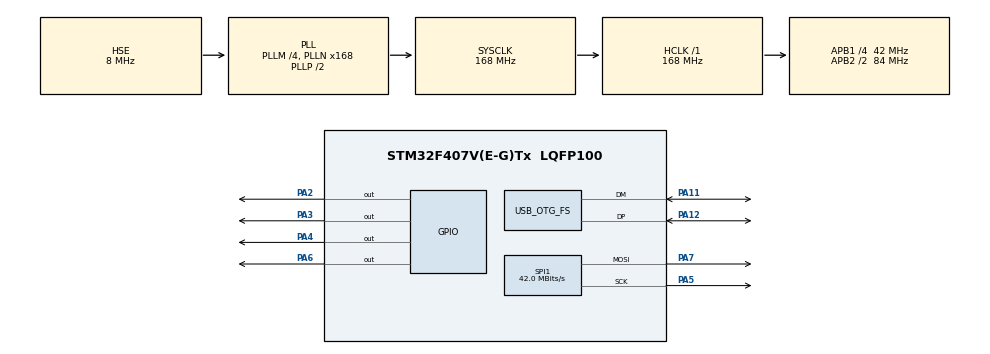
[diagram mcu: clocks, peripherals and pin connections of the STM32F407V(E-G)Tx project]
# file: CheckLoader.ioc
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Mcu.Family=STM32F4
Mcu.Name=STM32F407V(E-G)Tx
Mcu.Package=LQFP100
NVIC.OTG_FS_IRQn=true\:0\:0\:false\:false\:true\:false\:true\:true
NVIC.PriorityGroup=NVIC_PRIORITYGROUP_4
NVIC.SPI1_IRQn=true\:0\:0\:false\:false\:true\:true\:true\:true
PA11.Mode=Device_Only
PA11.Signal=USB_OTG_FS_DM
PA12.Mode=Device_Only
PA12.Signal=USB_OTG_FS_DP
PA2.GPIO_Speed=GPIO_SPEED_FREQ_HIGH
PA2.Signal=GPIO_Output
PA3.GPIO_Speed=GPIO_SPEED_FREQ_HIGH
PA3.Signal=GPIO_Output
PA4.GPIO_Speed=GPIO_SPEED_FREQ_HIGH
PA4.Signal=GPIO_Output
PA5.Mode=TX_Only_Simplex_Unidirect_Master
PA5.Signal=SPI1_SCK
PA6.Signal=GPIO_Output
PA7.Mode=TX_Only_Simplex_Unidirect_Master
PA7.Signal=SPI1_MOSI
PC14-OSC32_IN.Mode=LSE-External-Oscillator
PC14-OSC32_IN.Signal=RCC_OSC32_IN
PC15-OSC32_OUT.Mode=LSE-External-Oscillator
PC15-OSC32_OUT.Signal=RCC_OSC32_OUT
PH0-OSC_IN.Mode=HSE-External-Oscillator
PH0-OSC_IN.Signal=RCC_OSC_IN
PH1-OSC_OUT.Mode=HSE-External-Oscillator
PH1-OSC_OUT.Signal=RCC_OSC_OUT
ProjectManager.HeapSize=0x200
ProjectManager.StackSize=0x400
ProjectManager.TargetToolchain=STM32CubeIDE
RCC.48MHZClocksFreq_Value=48000000
RCC.AHBFreq_Value=168000000
RCC.APB1CLKDivider=RCC_HCLK_DIV4
RCC.APB1Freq_Value=42000000
RCC.APB1TimFreq_Value=84000000
RCC.APB2CLKDivider=RCC_HCLK_DIV2
RCC.APB2Freq_Value=84000000
RCC.APB2TimFreq_Value=168000000
RCC.CortexFreq_Value=168000000
RCC.HCLKFreq_Value=168000000
RCC.HSE_VALUE=8000000
RCC.HSI_VALUE=16000000
RCC.PLLM=4
RCC.PLLN=168
RCC.PLLQ=7
RCC.SYSCLKFreq_VALUE=168000000
RCC.SYSCLKSource=RCC_SYSCLKSOURCE_PLLCLK
RCC.VCOOutputFreq_Value=336000000
SPI1.BaudRatePrescaler=SPI_BAUDRATEPRESCALER_2
SPI1.CalculateBaudRate=42.0 MBits/s
SPI1.Direction=SPI_DIRECTION_2LINES
SPI1.Mode=SPI_MODE_MASTER
SPI1.VirtualType=VM_MASTER
USB_DEVICE.CLASS_NAME_FS=CDC
USB_DEVICE.VirtualMode-CDC_FS=Cdc
USB_DEVICE.VirtualModeFS=Cdc_FS
USB_OTG_FS.VirtualMode=Device_Only
VP_USB_DEVICE_VS_USB_DEVICE_CDC_FS.Mode=CDC_FS
board=custom

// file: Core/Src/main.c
/* USER CODE BEGIN Header */
/**
  ******************************************************************************
  * @file           : main.c
  * @brief          : Main program body
  ******************************************************************************
  * @attention
  *
  * Copyright (c) 2022 STMicroelectronics.
  * All rights reserved.
  *
  * This software is licensed under terms that can be found in the LICENSE file
  * in the root directory of this software component.
  * If no LICENSE file comes with this software, it is provided AS-IS.
  *
  ******************************************************************************
  */
/* USER CODE END Header */
#include "main.h"
#include "usb_device.h"

/* USER CODE BEGIN Includes */

#include "usbd_cdc_if.h"

#include "bootspl.h"

/* USER CODE END Includes */

 SPI_HandleTypeDef hspi1;

void SystemClock_Config(void);
static void MX_GPIO_Init(void);
static void MX_SPI1_Init(void);

/* USER CODE BEGIN 0 */

uint16_t floffset;

uint8_t buffer[64];

extern USBD_HandleTypeDef hUsbDeviceFS;

uint32_t readWord(uint32_t address){
	uint32_t read_data;
	read_data = *(uint32_t*)(address);
	return read_data;
}

uint16_t TFT9341_WIDTH;
uint16_t TFT9341_HEIGHT;

void TFT9341_SendCommand(uint8_t cmd)
{
  DC_COMMAND();
  HAL_SPI_Transmit(&hspi1, &cmd, 1, 1);
}

void TFT9341_SendData(uint8_t dt)
{
	DC_DATA();
	HAL_SPI_Transmit(&hspi1, &dt, 1, 1);
}

static void TFT9341_WriteData(uint8_t *buff, size_t buff_size) {
	DC_DATA();
	for(uint16_t i = 0; i!=buff_size; i++){
		HAL_SPI_Transmit(&hspi1, &buff[i], 1, 1);
	}
}

void TFT9341_reset(void)
{
	RESET_ACTIVE();
	HAL_Delay(5);
	RESET_IDLE();
}

void TFT9341_ini(uint16_t w_size, uint16_t h_size){
	SET_BIT(SPI1->CR1, SPI_CR1_SPE);
	uint8_t data[15];
	CS_ACTIVE();
	TFT9341_reset();
	TFT9341_SendCommand(0x01);
	HAL_Delay(1000);
	 HAL_Delay(1000);
	  data[0] = 0x39;
	  data[1] = 0x2C;
	  data[2] = 0x00;
	  data[3] = 0x34;
	  data[4] = 0x02;
	  TFT9341_SendCommand(0xCB);
	  TFT9341_WriteData(data, 5);
	  data[0] = 0x00;
	  data[1] = 0xC1;
	  data[2] = 0x30;
	  TFT9341_SendCommand(0xCF);
	  TFT9341_WriteData(data, 3);
	  data[0] = 0x85;
	  data[1] = 0x00;
	  data[2] = 0x78;
	  TFT9341_SendCommand(0xE8);
	  TFT9341_WriteData(data, 3);
	  data[0] = 0x00;
	  data[1] = 0x00;
	  TFT9341_SendCommand(0xEA);
	  TFT9341_WriteData(data, 2);
	  data[0] = 0x64;
	  data[1] = 0x03;
	  data[2] = 0x12;
	  data[3] = 0x81;
	  TFT9341_SendCommand(0xED);
	  TFT9341_WriteData(data, 4);
	  data[0] = 0x20;
	  TFT9341_SendCommand(0xF7);
	  TFT9341_WriteData(data, 1);
	  data[0] = 0x10;
	  TFT9341_SendCommand(0xC0);
	  TFT9341_WriteData(data, 1);
	  data[0] = 0x10;
	  TFT9341_SendCommand(0xC1);
	  TFT9341_WriteData(data, 1);
	  data[0] = 0x3E;
	  data[1] = 0x28;
	  TFT9341_SendCommand(0xC5);
	  TFT9341_WriteData(data, 2);
	  data[0] = 0x86;
	  TFT9341_SendCommand(0xC7);
	  TFT9341_WriteData(data, 1);
	  data[0] = 0x48;
	  TFT9341_SendCommand(0x36);
	  TFT9341_WriteData(data, 1);
	  data[0] = 0x55;
	  TFT9341_SendCommand(0x3A);
	  TFT9341_WriteData(data, 1);
	  data[0] = 0x00;
	  data[1] = 0x18;
	  TFT9341_SendCommand(0xB1);
	  TFT9341_WriteData(data, 2);
	  data[0] = 0x08;
	  data[1] = 0x82;
	  data[2] = 0x27;
	  TFT9341_SendCommand(0xB6);
	  TFT9341_WriteData(data, 3);
	  data[0] = 0x00;
	  TFT9341_SendCommand(0xF2);
	  TFT9341_WriteData(data, 1);
	  data[0] = 0x01;
	  TFT9341_SendCommand(0x26);
	  TFT9341_WriteData(data, 1);
	  data[0] = 0x0F;
	  data[1] = 0x31;
	  data[2] = 0x2B;
	  data[3] = 0x0C;
	  data[4] = 0x0E;
	  data[5] = 0x08;
	  data[6] = 0x4E;
	  data[7] = 0xF1;
	  data[8] = 0x37;
	  data[9] = 0x07;
	  data[10] = 0x10;
	  data[11] = 0x03;
	  data[12] = 0x0E;
	  data[13] = 0x09;
	  data[14] = 0x00;
	  TFT9341_SendCommand(0xE0);
	  TFT9341_WriteData(data, 15);
	  data[0] = 0x00;
	  data[1] = 0x0E;
	  data[2] = 0x14;
	  data[3] = 0x03;
	  data[4] = 0x11;
	  data[5] = 0x07;
	  data[6] = 0x31;
	  data[7] = 0xC1;
	  data[8] = 0x48;
	  data[9] = 0x08;
	  data[10] = 0x0F;
	  data[11] = 0x0C;
	  data[12] = 0x31;
	  data[13] = 0x36;
	  data[14] = 0x0F;
	  TFT9341_SendCommand(0xE1);
	  TFT9341_WriteData(data, 15);
	  TFT9341_SendCommand(0x11);
	  HAL_Delay(120);
	  data[0] = TFT9341_ROTATION;
	  TFT9341_SendCommand(0x29);
	  TFT9341_WriteData(data, 1);
	  TFT9341_WriteData(data, 1);
	  TFT9341_WIDTH = w_size;
	  TFT9341_HEIGHT = h_size;
}

void TFT9341_DrawPixel(uint16_t x, uint16_t y, uint16_t color){
	TFT9341_SendCommand(0x2A);
	TFT9341_SendData(x>>8);
	TFT9341_SendData(x);
	TFT9341_SendCommand(0x2B);
	TFT9341_SendData(y>>8);
	TFT9341_SendData(y);
	TFT9341_SendCommand(0x2C);
	TFT9341_SendData(color>>8);
	TFT9341_SendData(color & 0xFF);
}

void TFT9341_Draw8(uint16_t x, uint16_t y, uint8_t color){
	switch(color){
	case 1:
		TFT9341_DrawPixel(x, y, TFT9341_WHITE);
		break;
	default:
		TFT9341_DrawPixel(x, y, TFT9341_BLACK);
		break;
	}
}

void TFT9341_DrawMassive(uint16_t *mimage, uint16_t orientation){
	uint16_t currcolnum = 0;
	uint16_t x = 0;
	for(uint16_t y = 0; y != TFT9341_HEIGHT;y++){
		for(; x != TFT9341_HEIGHT;x++){
			switch(orientation){
			case 0:
				TFT9341_DrawPixel(TFT9341_WIDTH-x, y, mimage[currcolnum]);
				break;
			case 1:
				TFT9341_DrawPixel(y, x, mimage[currcolnum]);
				break;
			case 2:
				TFT9341_DrawPixel(TFT9341_WIDTH-y, TFT9341_HEIGHT-x, mimage[currcolnum]);
				break;
			case 3:
				TFT9341_DrawPixel(x, TFT9341_HEIGHT-y, mimage[currcolnum]);
				break;
			}
			currcolnum++;
		}
		x = 0;
	}
}

void TFT9341_DrawMassive8(uint8_t *mimage, uint16_t orientation){
	uint16_t currcolnum = 0;
	uint16_t x = 0;
	for(uint16_t y = 0; y != TFT9341_HEIGHT;y++){
		for(; x != TFT9341_HEIGHT;x++){
			switch(orientation){
			case 0:
				TFT9341_Draw8(TFT9341_WIDTH-x, y, mimage[currcolnum]);
				break;
			case 1:
				TFT9341_Draw8(y, x, mimage[currcolnum]);
				break;
			case 2:
				TFT9341_Draw8(TFT9341_WIDTH-y, TFT9341_HEIGHT-x, mimage[currcolnum]);
				break;
			case 3:
				TFT9341_Draw8(x, TFT9341_HEIGHT-y, mimage[currcolnum]);
				break;
			}
			currcolnum++;
		}
		x = 0;
	}
}

uint16_t checkmem(){
	uint8_t emptyCellCount = 0;
	for(uint8_t i=0; i<10; i++){
		if(readWord(AppStart + (i*4)) == -1)
			emptyCellCount++;
	}
	if(emptyCellCount != 10)
		return 1;
	else
		return 0;
}

typedef void (application_t)(void);

typedef struct{
    uint32_t		stack_addr;     // Stack Pointer
    application_t*	func_p;        // Program Counter
} JumpStruct;

void deinitEverything()
{
	//-- reset peripherals to guarantee flawless start of user application
	HAL_GPIO_DeInit(GPIOA, GPIO_PIN_4);
	HAL_GPIO_DeInit(GPIOA, GPIO_PIN_2);
	HAL_GPIO_DeInit(GPIOA, GPIO_PIN_3);
	HAL_GPIO_DeInit(GPIOA, GPIO_PIN_7);
	HAL_GPIO_DeInit(GPIOA, GPIO_PIN_5);
	HAL_GPIO_DeInit(GPIOA, GPIO_PIN_6);
	HAL_SPI_DeInit(&hspi1);
	USBD_DeInit(&hUsbDeviceFS);
	  __HAL_RCC_GPIOC_CLK_DISABLE();
	  __HAL_RCC_GPIOD_CLK_DISABLE();
	  __HAL_RCC_GPIOB_CLK_DISABLE();
	  __HAL_RCC_GPIOA_CLK_DISABLE();
	HAL_RCC_DeInit();
	HAL_DeInit();
	SysTick->CTRL = 0;
	SysTick->LOAD = 0;
	SysTick->VAL = 0;
}

void jumpToApp(const uint32_t address){
	const JumpStruct* vector_p = (JumpStruct*)address;
	deinitEverything();
    asm("msr msp, %0; bx %1;" : : "r"(vector_p->stack_addr), "r"(vector_p->func_p));
}

void eraseMem(){
	FLASH_Erase_Sector(FLASH_SECTOR_4, VOLTAGE_RANGE_3);
	FLASH_Erase_Sector(FLASH_SECTOR_5, VOLTAGE_RANGE_3);
	FLASH_Erase_Sector(FLASH_SECTOR_6, VOLTAGE_RANGE_3);
	FLASH_Erase_Sector(FLASH_SECTOR_7, VOLTAGE_RANGE_3);
}

/* USER CODE END 0 */

int main(void)
{

  /* MCU Configuration--------------------------------------------------------*/

  /* Reset of all peripherals, Initializes the Flash interface and the Systick. */
  HAL_Init();

  /* Configure the system clock */
  SystemClock_Config();

  /* Initialize all configured peripherals */
  MX_GPIO_Init();
  MX_SPI1_Init();
  MX_USB_DEVICE_Init();
  /* USER CODE BEGIN 2 */

  TFT9341_ini(128, 128);

  TFT9341_DrawMassive8(bootsplash, 1);

  HAL_GPIO_WritePin(GPIOA, GPIO_PIN_6, GPIO_PIN_SET);

  uint16_t check = checkmem();

  if(hUsbDeviceFS.dev_state == USBD_STATE_CONFIGURED){
	  check = 0;
  }

  if(check == 1){
	  TFT9341_reset();
	  jumpToApp(AppStart);
  }else{
	  HAL_FLASH_Unlock();
	  HAL_FLASH_OB_Unlock();
	  eraseMem();
  }

  /* USER CODE END 2 */

  /* Infinite loop */
  while (1){

  }
}

void SystemClock_Config(void)
{
  RCC_OscInitTypeDef RCC_OscInitStruct = {0};
  RCC_ClkInitTypeDef RCC_ClkInitStruct = {0};

  /** Configure the main internal regulator output voltage
  */
  __HAL_RCC_PWR_CLK_ENABLE();
  __HAL_PWR_VOLTAGESCALING_CONFIG(PWR_REGULATOR_VOLTAGE_SCALE1);

  /** Initializes the RCC Oscillators according to the specified parameters
  * in the RCC_OscInitTypeDef structure.
  */
  RCC_OscInitStruct.OscillatorType = RCC_OSCILLATORTYPE_HSE;
  RCC_OscInitStruct.HSEState = RCC_HSE_ON;
  RCC_OscInitStruct.PLL.PLLState = RCC_PLL_ON;
  RCC_OscInitStruct.PLL.PLLSource = RCC_PLLSOURCE_HSE;
  RCC_OscInitStruct.PLL.PLLM = 4;
  RCC_OscInitStruct.PLL.PLLN = 168;
  RCC_OscInitStruct.PLL.PLLP = RCC_PLLP_DIV2;
  RCC_OscInitStruct.PLL.PLLQ = 7;
  if (HAL_RCC_OscConfig(&RCC_OscInitStruct) != HAL_OK)
  {
    Error_Handler();
  }

  /** Initializes the CPU, AHB and APB buses clocks
  */
  RCC_ClkInitStruct.ClockType = RCC_CLOCKTYPE_HCLK|RCC_CLOCKTYPE_SYSCLK
                              |RCC_CLOCKTYPE_PCLK1|RCC_CLOCKTYPE_PCLK2;
  RCC_ClkInitStruct.SYSCLKSource = RCC_SYSCLKSOURCE_PLLCLK;
  RCC_ClkInitStruct.AHBCLKDivider = RCC_SYSCLK_DIV1;
  RCC_ClkInitStruct.APB1CLKDivider = RCC_HCLK_DIV4;
  RCC_ClkInitStruct.APB2CLKDivider = RCC_HCLK_DIV2;

  if (HAL_RCC_ClockConfig(&RCC_ClkInitStruct, FLASH_LATENCY_5) != HAL_OK)
  {
    Error_Handler();
  }
}

static void MX_SPI1_Init(void)
{

  /* SPI1 parameter configuration*/
  hspi1.Instance = SPI1;
  hspi1.Init.Mode = SPI_MODE_MASTER;
  hspi1.Init.Direction = SPI_DIRECTION_2LINES;
  hspi1.Init.DataSize = SPI_DATASIZE_8BIT;
  hspi1.Init.CLKPolarity = SPI_POLARITY_LOW;
  hspi1.Init.CLKPhase = SPI_PHASE_1EDGE;
  hspi1.Init.NSS = SPI_NSS_SOFT;
  hspi1.Init.BaudRatePrescaler = SPI_BAUDRATEPRESCALER_2;
  hspi1.Init.FirstBit = SPI_FIRSTBIT_MSB;
  hspi1.Init.TIMode = SPI_TIMODE_DISABLE;
  hspi1.Init.CRCCalculation = SPI_CRCCALCULATION_DISABLE;
  hspi1.Init.CRCPolynomial = 10;
  if (HAL_SPI_Init(&hspi1) != HAL_OK)
  {
    Error_Handler();
  }

}

static void MX_GPIO_Init(void)
{
  GPIO_InitTypeDef GPIO_InitStruct = {0};

  /* GPIO Ports Clock Enable */
  __HAL_RCC_GPIOC_CLK_ENABLE();
  __HAL_RCC_GPIOH_CLK_ENABLE();
  __HAL_RCC_GPIOA_CLK_ENABLE();

  /*Configure GPIO pin Output Level */
  HAL_GPIO_WritePin(GPIOA, GPIO_PIN_2|GPIO_PIN_3|GPIO_PIN_4|GPIO_PIN_6, GPIO_PIN_RESET);

  /*Configure GPIO pins : PA2 PA3 PA4 */
  GPIO_InitStruct.Pin = GPIO_PIN_2|GPIO_PIN_3|GPIO_PIN_4;
  GPIO_InitStruct.Mode = GPIO_MODE_OUTPUT_PP;
  GPIO_InitStruct.Pull = GPIO_NOPULL;
  GPIO_InitStruct.Speed = GPIO_SPEED_FREQ_HIGH;
  HAL_GPIO_Init(GPIOA, &GPIO_InitStruct);

  /*Configure GPIO pin : PA6 */
  GPIO_InitStruct.Pin = GPIO_PIN_6;
  GPIO_InitStruct.Mode = GPIO_MODE_OUTPUT_PP;
  GPIO_InitStruct.Pull = GPIO_NOPULL;
  GPIO_InitStruct.Speed = GPIO_SPEED_FREQ_LOW;
  HAL_GPIO_Init(GPIOA, &GPIO_InitStruct);

}

void Error_Handler(void)
{
  __disable_irq();
  while (1)
  {
  }
}
